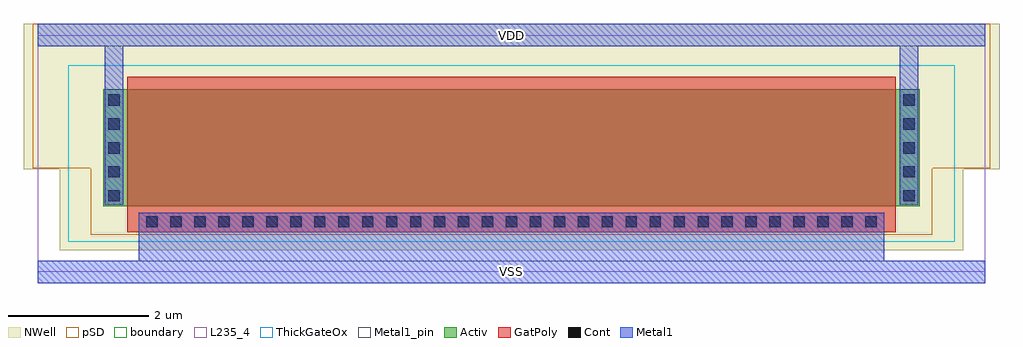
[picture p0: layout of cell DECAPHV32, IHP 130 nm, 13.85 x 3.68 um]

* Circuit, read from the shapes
.subckt DECAPHV32 VDD VSS
XM1 VDD VSS VDD n1 sg13_hv_pmos w=1.66u l=10.9u
.ends

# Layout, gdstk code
import gdstk
lib = gdstk.Library(unit=1e-6, precision=1e-09)
def R(c, l, rs):  # rectangles x0, y0, x1, y1
    for r in rs: c.add(gdstk.rectangle(r[:2], r[2:], *l))
def A(c, l, x, y, w, h, nx, ny, dx, dy):  # array of equal rectangles
    R(c, l, [(x+i*dx, y+j*dy, x+i*dx+w, y+j*dy+h) for i in range(nx) for j in range(ny)])
Activ = (1, 0)
GatPoly = (5, 0)
Cont = (6, 0)
Metal1 = (8, 0)
Metal1_pin = (8, 2)
pSD = (14, 0)
NWell = (31, 0)
ThickGateOx = (44, 0)
boundary = (189, 4)
L235_4 = (235, 4)

decaphv32 = lib.new_cell('DECAPHV32')
R(decaphv32, Activ, [(0.93,0.93,12.51,2.59)])
R(decaphv32, GatPoly, [(1.27,0.56,12.17,2.77)])
A(decaphv32, Cont, 1.54, 0.63, 0.16, 0.16, 31, 1, 0.34, 0)
A(decaphv32, Cont, 1, 1, 0.16, 0.16, 1, 5, 0, 0.34)
A(decaphv32, Cont, 12.28, 1, 0.16, 0.16, 1, 5, 0, 0.34)
R(decaphv32, Metal1, [(0,-0.16,13.44,0.16), (1.43,0.16,12.01,0.84), (0.95,0.95,1.21,3.2), (12.23,0.95,12.49,3.2), (0,3.2,13.44,3.52)])
R(decaphv32, Metal1_pin, [(0,-0.16,13.44,0.16), (0,3.2,13.44,3.52)])
R(decaphv32, pSD, [(0.75,0.53,12.69,1.47), (-0.075,1.47,13.515,3.52)])
R(decaphv32, NWell, [(0.31,0.31,13.13,1.46), (-0.205,1.46,13.645,3.52)])
R(decaphv32, ThickGateOx, [(0.43,0.43,13.01,2.93)])
R(decaphv32, boundary, [(0,0,13.44,3.36)])
R(decaphv32, L235_4, [(0,0,13.44,3.36)])
decaphv32.add(gdstk.Label('VSS', (6.72,0), layer=8, texttype=25))
decaphv32.add(gdstk.Label('VDD', (6.72,3.36), layer=8, texttype=25))

lib.write_gds('DECAPHV32.gds')
